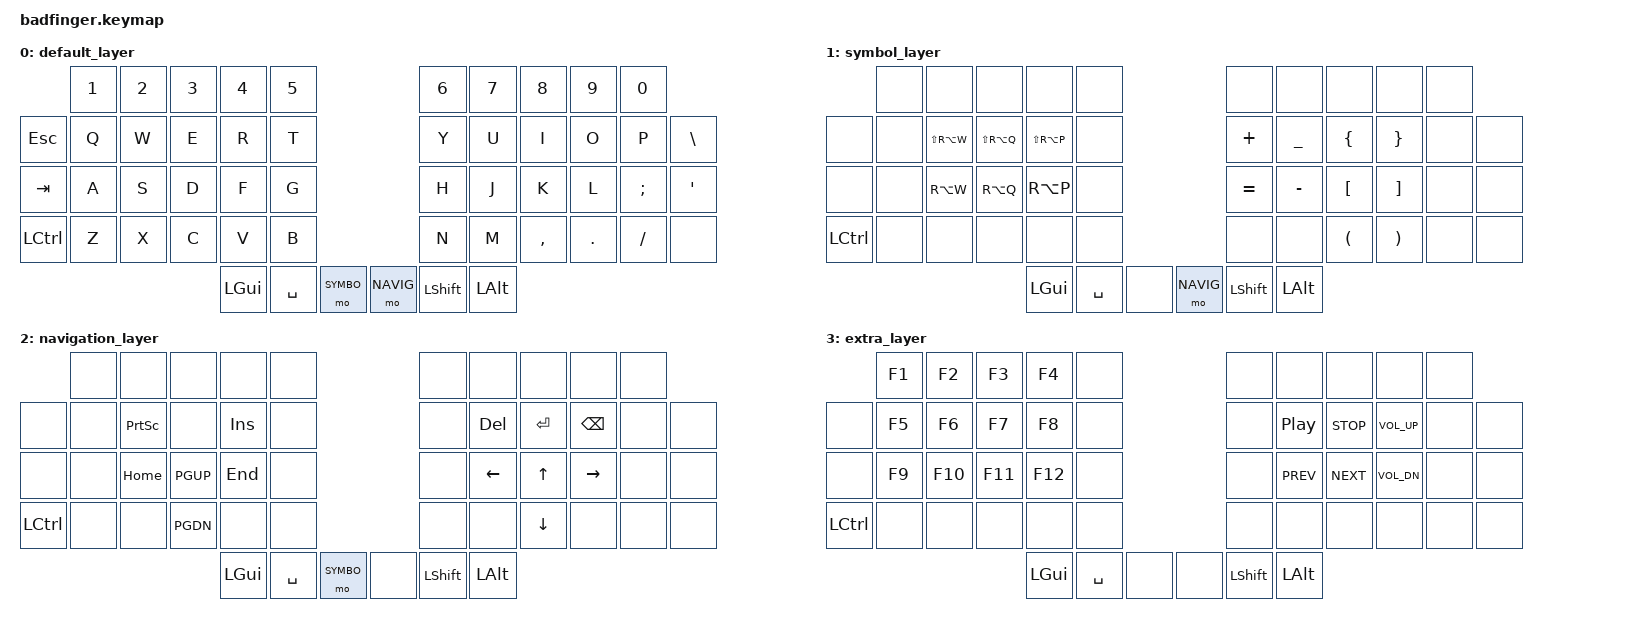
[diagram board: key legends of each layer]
#include <behaviors.dtsi>
#include <dt-bindings/zmk/keys.h>
#include <dt-bindings/zmk/bt.h>

#define DEFAU 0
#define SYMBO 1
#define NAVIG 2
#define EXTRA 3

/ {
    conditional_layers {
        compatible = "zmk,conditional-layers";
        tri_layer {
            if-layers = <1 2>;
            then-layer = <3>;
        };
    };

    combos {
        compatible = "zmk,combos";

        combo_bt_clr {
            timeout-ms = <100>;
            key-positions = <4 10 48>;
            bindings = <&bt BT_CLR>;
        };

        combo_bt_sel_0 {
            timeout-ms = <100>;
            key-positions = <0 10 48>;
            bindings = <&bt BT_SEL 0>;
        };

        combo_bt_sel_1 {
            timeout-ms = <100>;
            key-positions = <1 10 48>;
            bindings = <&bt BT_SEL 1>;
        };

        combo_bt_sel_2 {
            timeout-ms = <100>;
            key-positions = <2 10 48>;
            bindings = <&bt BT_SEL 2>;
        };
    };

    keymap {
        compatible = "zmk,keymap";

        // for åäö and a good layout, just use colemak in OS
        // TODO think about whether altering the keyboard is better
        // although so long as I ever use a/the normal PC keyboard or laptop, I need the OS to be on colemak anyway

        // currently left out because i never use them
        // menu, capslock, scrolllock, numlock, pause, numpad

        default_layer {
            bindings = <
                           &kp N1     &kp N2     &kp N3     &kp N4     &kp N5                           &kp N6     &kp N7     &kp N8     &kp N9     &kp N0     
                &kp ESC    &kp Q      &kp W      &kp E      &kp R      &kp T                            &kp Y      &kp U      &kp I      &kp O      &kp P      &kp BSLH
                &kp TAB    &kp A      &kp S      &kp D      &kp F      &kp G                            &kp H      &kp J      &kp K      &kp L      &kp SEMI   &kp APOS
                &kp LCTRL  &kp Z      &kp X      &kp C      &kp V      &kp B                            &kp N      &kp M      &kp COMMA  &kp DOT    &kp FSLH   &none
                                                            &kp LGUI   &kp SPACE  &mo SYMBO  &mo NAVIG  &kp LSHIFT &kp LALT
            >;
        };

        symbol_layer {
            bindings = <
                           &none      &none      &none      &none      &none                            &none      &none      &none      &none      &none
                &none  &none &kp LS(RA(W)) &kp LS(RA(Q)) &kp LS(RA(P)) &none                            &kp PLUS   &kp UNDER  &kp LBRC   &kp RBRC   &none      &none
                &none      &none     &kp RA(W) &kp RA(Q) &kp RA(P)     &none                            &kp EQUAL  &kp MINUS  &kp LBKT   &kp RBKT   &none      &none
                &kp LCTRL  &none      &none      &none      &none      &none                            &none      &none      &kp LPAR   &kp RPAR   &none      &none
                                                            &kp LGUI   &kp SPACE  &none      &mo NAVIG  &kp LSHIFT &kp LALT
            >;
        };

        navigation_layer {
            bindings = <
                           &none      &none      &none      &none      &none                            &none      &none      &none      &none      &none
                &none      &none      &kp PSCRN  &none      &kp INS    &none                            &none      &kp DELETE &kp ENTER  &kp BSPC   &none      &none
                &none      &none      &kp HOME   &kp PGUP   &kp END    &none                            &none      &kp LEFT   &kp UP     &kp RIGHT  &none      &none
                &kp LCTRL  &none      &none      &kp PGDN   &none      &none                            &none      &none      &kp DOWN   &none      &none      &none
                                                            &kp LGUI   &kp SPACE  &mo SYMBO  &none      &kp LSHIFT &kp LALT
            >;
        };

        extra_layer {
            bindings = <
                           &kp F1     &kp F2     &kp F3     &kp F4     &none                            &none      &none      &none      &none      &none
                &none      &kp F5     &kp F6     &kp F7     &kp F8     &none                            &none      &kp C_PP   &kp C_STOP &kp C_VOL_UP &none    &none
                &none      &kp F9     &kp F10    &kp F11    &kp F12    &none                            &none      &kp C_PREV &kp C_NEXT &kp C_VOL_DN &none    &none
                &kp LCTRL  &none      &none      &none      &none      &none                            &none      &none      &none      &none      &none      &none
                                                            &kp LGUI   &kp SPACE  &none      &none      &kp LSHIFT &kp LALT
            >;
        };
    };
};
